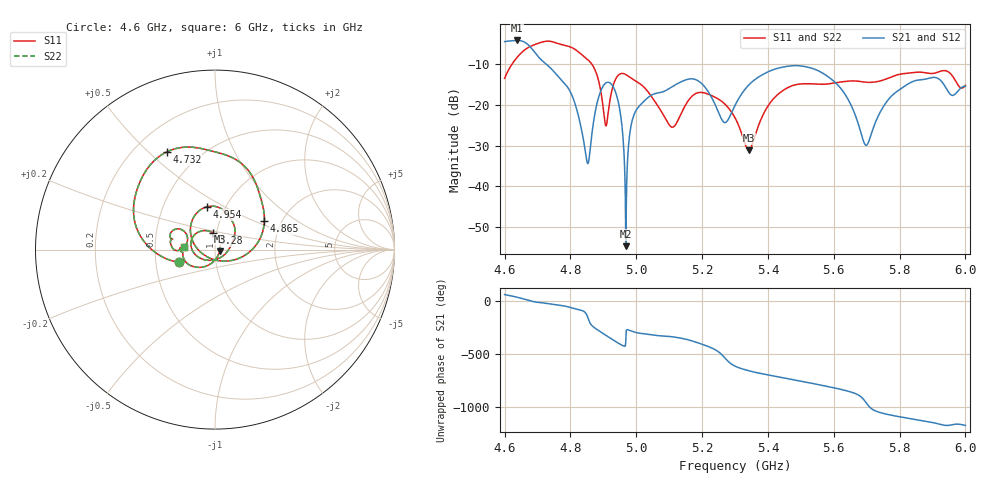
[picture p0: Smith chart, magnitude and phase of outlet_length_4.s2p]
! TOUCHSTONE file generated by CST MICROWAVE STUDIO
! Date and time: Mon Dec  2 04:50:23 2024
! Project name: test_tuning.cst
! Parameters = {airCoaxOuterDiameter=3; chamferAngle=45; chamferWidth=24; connectorLength=10; drillingHoleDiameter=4.1; feedLength=60; flareDiameter=130; flareLength=70; gratingDistance=0; gratingGap=1.90274; outletLength=20; polarizerLength=134; probe1Diameter=1.3; probe1Distance=14; probe1Length=1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
! Header version: 2024
! Port assignment regex: !\s*Touchstone port\s*([0-9]+)\s*=\s*(CST MWS port|CST DES external port|CST DES block port)\s*(.+)\s* \(\"(.*)\"\)(\s*mode\s*([0-9]+))?.*
! Touchstone port assignment:
! Touchstone port 1 = CST MWS port 1 ("Input1")
! Touchstone port 2 = CST MWS port 2 ("Input2")
# GHz S MA R 50
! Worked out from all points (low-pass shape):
!   1001 points, 4.6 GHz to 6 GHz, reference 50 ohm
!   highest |S21| = -4.16 dB at 4.638 GHz (marker M1); lowest = -54.8 dB at 4.968 GHz (marker M2)
!   |S21| within 3 dB of the highest: start of sweep to 4.692 GHz
!   lowest |S11| = -31.2 dB at 5.342 GHz (marker M3), VSWR 1.06, Z = 52.7 - j0.729 ohm
!   |S11| at or under -10 dB: start of sweep to 4.622431 GHz; 4.865 GHz to end of sweep
!   |S22| runs from -31.2 to -4.3 dB; largest |S21 - S12| = 6e-07
!   S11 on the Smith chart (normalised r, x): 4.6 GHz: 0.66, -0.10; 4.732 GHz: 0.33, +0.57; 4.865 GHz: 1.63, +0.58; 4.954 GHz: 0.82, +0.41; 5.28 GHz: 0.97, +0.18; 6 GHz: 0.71, +0.02
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4.6  0.2119 -160.7  0.5992 64.3  0.5992 64.3  0.2119 -160.7
4.6378  0.3832 175.6  0.6196 39.3  0.6196 39.3  0.3832 175.6
4.7316  0.6071 116.4  0.3043 -21.1  0.3043 -21.1  0.6071 116.4
4.8338  0.4164 55.2  0.04928 -85.5  0.04928 -85.5  0.4164 55.2
4.852  0.3617 42.7  0.01903 -146.1  0.01903 -146.1  0.3617 42.7
4.8646  0.3182 30.1  0.04179 133.7  0.04179 133.7  0.3182 30.1
4.908  0.05489 -112.2  0.1862 38.7  0.1862 38.7  0.05489 -112.2
4.9542  0.2426 101.1  0.06639 -50.2  0.06639 -50.2  0.2426 101.1
4.9682  0.2359 85.0  0.001827 -17.0  0.001827 -17.0  0.2359 85.0
4.9934  0.2013 67.3  0.07604 70.3  0.07604 70.3  0.2013 67.3
5.0676  0.09432 16.5  0.1404 35.8  0.1404 35.8  0.09432 16.5
5.1124  0.05343 -73.8  0.1704 24.0  0.1704 24.0  0.05343 -73.8
5.1796  0.137 168.9  0.2051 -23.4  0.2051 -23.4  0.137 168.9
5.2804  0.0912 95.6  0.06711 149.8  0.06711 149.8  0.0912 95.6
5.3  0.06936 79.1  0.09834 108.6  0.09834 108.6  0.06936 79.1
5.342  0.02761 -14.5  0.1758 64.6  0.1758 64.6  0.02761 -14.5
5.4204  0.1232 -127.2  0.2746 13.5  0.2746 13.5  0.1232 -127.2
5.5338  0.1814 -170.7  0.2816 -54.0  0.2816 -54.0  0.1814 -170.7
5.629  0.1928 -178.0  0.1452 -116.5  0.1452 -116.5  0.1928 -178.0
5.6976  0.19 176.9  0.03181 126.3  0.03181 126.3  0.19 176.9
5.7676  0.2145 -178.5  0.1183 9.9  0.1183 9.9  0.2145 -178.5
6  0.1732 175.1  0.1698 -91.6  0.1698 -91.6  0.1732 175.1
